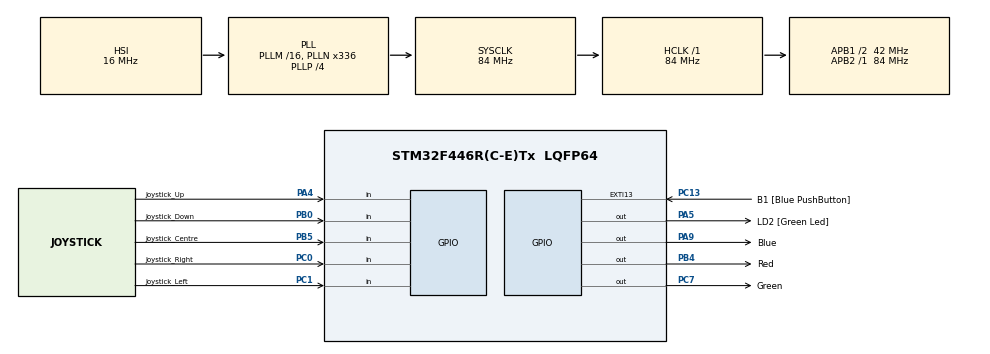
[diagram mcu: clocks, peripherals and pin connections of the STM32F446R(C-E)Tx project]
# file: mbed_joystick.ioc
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Mcu.Family=STM32F4
Mcu.Name=STM32F446R(C-E)Tx
Mcu.Package=LQFP64
NVIC.PriorityGroup=NVIC_PRIORITYGROUP_0
PA13.GPIO_Label=TMS
PA13.Signal=SYS_JTMS-SWDIO
PA14.GPIO_Label=TCK
PA14.Signal=SYS_JTCK-SWCLK
PA2.GPIO_Label=USART_TX
PA2.Signal=USART2_TX
PA3.GPIO_Label=USART_RX
PA3.Signal=USART2_RX
PA4.GPIO_Label=Joystick_Up
PA4.Signal=GPIO_Input
PA5.GPIO_Label=LD2 [Green Led]
PA5.Signal=GPIO_Output
PA9.GPIO_Label=Blue
PA9.Signal=GPIO_Output
PB0.GPIO_Label=Joystick_Down
PB0.Signal=GPIO_Input
PB3.GPIO_Label=SWO
PB3.Signal=SYS_JTDO-SWO
PB4.GPIO_Label=Red
PB4.Signal=GPIO_Output
PB5.GPIO_Label=Joystick_Centre
PB5.Signal=GPIO_Input
PC0.GPIO_Label=Joystick_Right
PC0.Signal=GPIO_Input
PC1.GPIO_Label=Joystick_Left
PC1.Signal=GPIO_Input
PC13.GPIO_Label=B1 [Blue PushButton]
PC13.GPIO_ModeDefaultEXTI=GPIO_MODE_IT_FALLING
PC13.Signal=GPXTI13
PC14-OSC32_IN.Signal=RCC_OSC32_IN
PC15-OSC32_OUT.Signal=RCC_OSC32_OUT
PC7.GPIO_Label=Green
PC7.Signal=GPIO_Output
PH0-OSC_IN.Signal=RCC_OSC_IN
PH1-OSC_OUT.Signal=RCC_OSC_OUT
ProjectManager.HeapSize=0x200
ProjectManager.StackSize=0x400
ProjectManager.TargetToolchain=STM32CubeIDE
RCC.AHBFreq_Value=84000000
RCC.APB1CLKDivider=RCC_HCLK_DIV2
RCC.APB1Freq_Value=42000000
RCC.APB1TimFreq_Value=84000000
RCC.APB2Freq_Value=84000000
RCC.APB2TimFreq_Value=84000000
RCC.CortexFreq_Value=84000000
RCC.FLatency-AdvancedSettings=FLASH_LATENCY_2
RCC.HCLKFreq_Value=84000000
RCC.HSE_VALUE=8000000
RCC.HSI_VALUE=16000000
RCC.LSE_VALUE=32768
RCC.PLLN=336
RCC.PLLP=RCC_PLLP_DIV4
RCC.SYSCLKFreq_VALUE=84000000
RCC.SYSCLKSource=RCC_SYSCLKSOURCE_PLLCLK
RCC.USBFreq_Value=168000000
RCC.VCOOutputFreq_Value=336000000
board=NUCLEO-F446RE

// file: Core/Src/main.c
/* USER CODE BEGIN Header */
/**
  ******************************************************************************
  * @file           : main.c
  * @brief          : Main program body
  ******************************************************************************
  * @attention
  *
  * Copyright (c) 2024 STMicroelectronics.
  * All rights reserved.
  *
  * This software is licensed under terms that can be found in the LICENSE file
  * in the root directory of this software component.
  * If no LICENSE file comes with this software, it is provided AS-IS.
  *
  ******************************************************************************
  */
/* USER CODE END Header */
#include "main.h"

void SystemClock_Config(void);
static void MX_GPIO_Init(void);

int main(void)
{

  /* MCU Configuration--------------------------------------------------------*/

  /* Reset of all peripherals, Initializes the Flash interface and the Systick. */
  HAL_Init();

  /* Configure the system clock */
  SystemClock_Config();

  /* Initialize all configured peripherals */
  MX_GPIO_Init();

  /* Infinite loop */
  while (1)
  {

    /* USER CODE BEGIN 3 */
	  //HAL_GPIO_TogglePin(GPIOA, LD2_Pin);
	  //HAL_GPIO_TogglePin(Green_GPIO_Port, Green_Pin);
	  //HAL_GPIO_TogglePin(GPIOA, Blue_Pin);
	  	//HAL_GPIO_TogglePin(Red_GPIO_Port, Red_Pin);
	  	//HAL_Delay(500);
	  	if(HAL_GPIO_ReadPin(Joystick_Up_GPIO_Port, Joystick_Up_Pin) == GPIO_PIN_SET)
	  	{
	  		HAL_GPIO_WritePin(GPIOA, Blue_Pin, 0);
	  		HAL_GPIO_WritePin(Green_GPIO_Port, Green_Pin, 0);
	  	}
	  	else if(HAL_GPIO_ReadPin(GPIOB, Joystick_Down_Pin) == GPIO_PIN_SET)
	  	{
	  		HAL_GPIO_WritePin(GPIOA, Blue_Pin, 0);
	  		HAL_GPIO_WritePin(Green_GPIO_Port, Green_Pin, 0);
	  		HAL_GPIO_WritePin(Red_GPIO_Port, Red_Pin, 0);
	  	}
	  	else if(HAL_GPIO_ReadPin(GPIOC, Joystick_Right_Pin) == GPIO_PIN_SET)
	  	{
	  		HAL_GPIO_WritePin(Red_GPIO_Port, Red_Pin, 0);
	  	}
	  	else if(HAL_GPIO_ReadPin(GPIOC, Joystick_Left_Pin) == GPIO_PIN_SET)
	  	{
	  		HAL_GPIO_WritePin(GPIOA, Blue_Pin, 0);
	  	}
	  	else if(HAL_GPIO_ReadPin(GPIOB, Joystick_Centre_Pin) == GPIO_PIN_SET)
	  	{
	  		HAL_GPIO_WritePin(Green_GPIO_Port, Green_Pin, 0);
	  	}
	  	else
	  	{
	  		HAL_GPIO_WritePin(GPIOA, Blue_Pin, 1);
	  		HAL_GPIO_WritePin(Green_GPIO_Port, Green_Pin, 1);
	  		HAL_GPIO_WritePin(Red_GPIO_Port, Red_Pin, 1);

	  	}

  }
  /* USER CODE END 3 */
}

void SystemClock_Config(void)
{
  RCC_OscInitTypeDef RCC_OscInitStruct = {0};
  RCC_ClkInitTypeDef RCC_ClkInitStruct = {0};

  /** Configure the main internal regulator output voltage
  */
  __HAL_RCC_PWR_CLK_ENABLE();
  __HAL_PWR_VOLTAGESCALING_CONFIG(PWR_REGULATOR_VOLTAGE_SCALE3);

  /** Initializes the RCC Oscillators according to the specified parameters
  * in the RCC_OscInitTypeDef structure.
  */
  RCC_OscInitStruct.OscillatorType = RCC_OSCILLATORTYPE_HSI;
  RCC_OscInitStruct.HSIState = RCC_HSI_ON;
  RCC_OscInitStruct.HSICalibrationValue = RCC_HSICALIBRATION_DEFAULT;
  RCC_OscInitStruct.PLL.PLLState = RCC_PLL_ON;
  RCC_OscInitStruct.PLL.PLLSource = RCC_PLLSOURCE_HSI;
  RCC_OscInitStruct.PLL.PLLM = 16;
  RCC_OscInitStruct.PLL.PLLN = 336;
  RCC_OscInitStruct.PLL.PLLP = RCC_PLLP_DIV4;
  RCC_OscInitStruct.PLL.PLLQ = 2;
  RCC_OscInitStruct.PLL.PLLR = 2;
  if (HAL_RCC_OscConfig(&RCC_OscInitStruct) != HAL_OK)
  {
    Error_Handler();
  }

  /** Initializes the CPU, AHB and APB buses clocks
  */
  RCC_ClkInitStruct.ClockType = RCC_CLOCKTYPE_HCLK|RCC_CLOCKTYPE_SYSCLK
                              |RCC_CLOCKTYPE_PCLK1|RCC_CLOCKTYPE_PCLK2;
  RCC_ClkInitStruct.SYSCLKSource = RCC_SYSCLKSOURCE_PLLCLK;
  RCC_ClkInitStruct.AHBCLKDivider = RCC_SYSCLK_DIV1;
  RCC_ClkInitStruct.APB1CLKDivider = RCC_HCLK_DIV2;
  RCC_ClkInitStruct.APB2CLKDivider = RCC_HCLK_DIV1;

  if (HAL_RCC_ClockConfig(&RCC_ClkInitStruct, FLASH_LATENCY_2) != HAL_OK)
  {
    Error_Handler();
  }
}

static void MX_GPIO_Init(void)
{
  GPIO_InitTypeDef GPIO_InitStruct = {0};

  /* GPIO Ports Clock Enable */
  __HAL_RCC_GPIOC_CLK_ENABLE();
  __HAL_RCC_GPIOH_CLK_ENABLE();
  __HAL_RCC_GPIOA_CLK_ENABLE();
  __HAL_RCC_GPIOB_CLK_ENABLE();

  /*Configure GPIO pin Output Level */
  HAL_GPIO_WritePin(GPIOA, LD2_Pin|Blue_Pin, GPIO_PIN_RESET);

  /*Configure GPIO pin Output Level */
  HAL_GPIO_WritePin(Green_GPIO_Port, Green_Pin, GPIO_PIN_RESET);

  /*Configure GPIO pin Output Level */
  HAL_GPIO_WritePin(Red_GPIO_Port, Red_Pin, GPIO_PIN_RESET);

  /*Configure GPIO pin : B1_Pin */
  GPIO_InitStruct.Pin = B1_Pin;
  GPIO_InitStruct.Mode = GPIO_MODE_IT_FALLING;
  GPIO_InitStruct.Pull = GPIO_NOPULL;
  HAL_GPIO_Init(B1_GPIO_Port, &GPIO_InitStruct);

  /*Configure GPIO pins : Joystick_Right_Pin Joystick_Left_Pin */
  GPIO_InitStruct.Pin = Joystick_Right_Pin|Joystick_Left_Pin;
  GPIO_InitStruct.Mode = GPIO_MODE_INPUT;
  GPIO_InitStruct.Pull = GPIO_NOPULL;
  HAL_GPIO_Init(GPIOC, &GPIO_InitStruct);

  /*Configure GPIO pins : USART_TX_Pin USART_RX_Pin */
  GPIO_InitStruct.Pin = USART_TX_Pin|USART_RX_Pin;
  GPIO_InitStruct.Mode = GPIO_MODE_AF_PP;
  GPIO_InitStruct.Pull = GPIO_NOPULL;
  GPIO_InitStruct.Speed = GPIO_SPEED_FREQ_VERY_HIGH;
  GPIO_InitStruct.Alternate = GPIO_AF7_USART2;
  HAL_GPIO_Init(GPIOA, &GPIO_InitStruct);

  /*Configure GPIO pin : Joystick_Up_Pin */
  GPIO_InitStruct.Pin = Joystick_Up_Pin;
  GPIO_InitStruct.Mode = GPIO_MODE_INPUT;
  GPIO_InitStruct.Pull = GPIO_NOPULL;
  HAL_GPIO_Init(Joystick_Up_GPIO_Port, &GPIO_InitStruct);

  /*Configure GPIO pins : LD2_Pin Blue_Pin */
  GPIO_InitStruct.Pin = LD2_Pin|Blue_Pin;
  GPIO_InitStruct.Mode = GPIO_MODE_OUTPUT_PP;
  GPIO_InitStruct.Pull = GPIO_NOPULL;
  GPIO_InitStruct.Speed = GPIO_SPEED_FREQ_LOW;
  HAL_GPIO_Init(GPIOA, &GPIO_InitStruct);

  /*Configure GPIO pins : Joystick_Down_Pin Joystick_Centre_Pin */
  GPIO_InitStruct.Pin = Joystick_Down_Pin|Joystick_Centre_Pin;
  GPIO_InitStruct.Mode = GPIO_MODE_INPUT;
  GPIO_InitStruct.Pull = GPIO_NOPULL;
  HAL_GPIO_Init(GPIOB, &GPIO_InitStruct);

  /*Configure GPIO pin : Green_Pin */
  GPIO_InitStruct.Pin = Green_Pin;
  GPIO_InitStruct.Mode = GPIO_MODE_OUTPUT_PP;
  GPIO_InitStruct.Pull = GPIO_NOPULL;
  GPIO_InitStruct.Speed = GPIO_SPEED_FREQ_LOW;
  HAL_GPIO_Init(Green_GPIO_Port, &GPIO_InitStruct);

  /*Configure GPIO pin : Red_Pin */
  GPIO_InitStruct.Pin = Red_Pin;
  GPIO_InitStruct.Mode = GPIO_MODE_OUTPUT_PP;
  GPIO_InitStruct.Pull = GPIO_NOPULL;
  GPIO_InitStruct.Speed = GPIO_SPEED_FREQ_LOW;
  HAL_GPIO_Init(Red_GPIO_Port, &GPIO_InitStruct);

}

void Error_Handler(void)
{
  __disable_irq();
  while (1)
  {
  }
}
